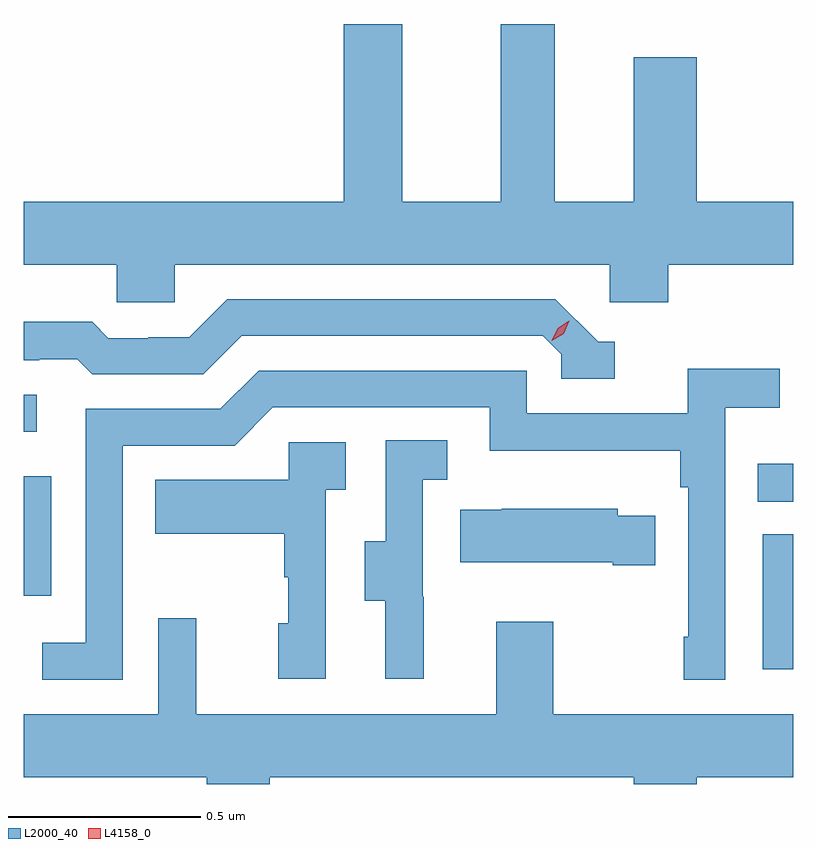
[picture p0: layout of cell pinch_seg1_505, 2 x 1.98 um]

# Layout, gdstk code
import gdstk
lib = gdstk.Library(unit=1e-6, precision=1e-09)
def R(c, l, rs):  # rectangles x0, y0, x1, y1
    for r in rs: c.add(gdstk.rectangle(r[:2], r[2:], *l))
def P(c, l, *ps):  # polygons
    for p in ps: c.add(gdstk.Polygon(p, *l))
L2000_40 = (2000, 40)
L4158_0 = (4158, 0)

pinch_seg1_505 = lib.new_cell('pinch_seg1_505')
R(pinch_seg1_505, L2000_40, [(1124.384,529.368,1124.463,529.719), (1122.463,529.56,1122.534,529.87), (1124.371,529.804,1124.463,529.903), (1122.463,529.986,1122.496,530.082)])
P(pinch_seg1_505, L2000_40, [(1122.855,530.42),(1123.986,530.42),(1123.986,530.322),(1124.138,530.322),(1124.138,530.42),(1124.463,530.42),(1124.463,530.584),(1124.212,530.584),(1124.212,530.959),(1124.048,530.959),(1124.048,530.584),(1123.843,530.584),(1123.843,531.046),(1123.703,531.046),(1123.703,530.584),(1123.447,530.584),(1123.447,531.046),(1123.295,531.046),(1123.295,530.584),(1122.463,530.584),(1122.463,530.42),(1122.705,530.42),(1122.705,530.322),(1122.855,530.322)],
  [(1123.999,530.22),(1123.956,530.22),(1123.845,530.331),(1122.992,530.331),(1122.893,530.232),(1122.786,530.232),(1122.786,530.229),(1122.683,530.229),(1122.641,530.272),(1122.463,530.272),(1122.463,530.172),(1122.503,530.172),(1122.503,530.175),(1122.602,530.175),(1122.641,530.136),(1122.93,530.136),(1123.029,530.235),(1123.812,530.235),(1123.86,530.187),(1123.86,530.124),(1123.999,530.124)],
  [(1122.72,529.95),(1123.011,529.95),(1123.11,530.049),(1123.674,530.049),(1123.674,529.937),(1124.17,529.937),(1124.17,529.841),(1124.19,529.841),(1124.19,529.453),(1124.178,529.453),(1124.178,529.341),(1124.286,529.341),(1124.286,530.048),(1124.428,530.048),(1124.428,530.15),(1124.189,530.15),(1124.189,530.034),(1123.77,530.034),(1123.77,530.145),(1123.073,530.145),(1122.974,530.046),(1122.624,530.046),(1122.624,529.437),(1122.511,529.437),(1122.511,529.341),(1122.72,529.341)],
  [(1123.502,529.557),(1123.5,529.557),(1123.5,529.861),(1123.564,529.861),(1123.564,529.964),(1123.404,529.964),(1123.404,529.701),(1123.349,529.701),(1123.349,529.546),(1123.403,529.546),(1123.403,529.344),(1123.502,529.344)],
  [(1123.248,529.835),(1123.3,529.835),(1123.3,529.959),(1123.152,529.959),(1123.152,529.861),(1122.805,529.861),(1122.805,529.721),(1123.14,529.721),(1123.14,529.607),(1123.15,529.607),(1123.15,529.488),(1123.124,529.488),(1123.124,529.344),(1123.248,529.344)],
  [(1124.105,529.768),(1124.007,529.768),(1124.007,529.786),(1123.705,529.786),(1123.705,529.783),(1123.597,529.783),(1123.597,529.646),(1123.994,529.646),(1123.994,529.639),(1124.105,529.639)],
  [(1123.102,529.088),(1124.048,529.088),(1124.048,529.07),(1124.212,529.07),(1124.212,529.088),(1124.463,529.088),(1124.463,529.252),(1123.839,529.252),(1123.839,529.492),(1123.691,529.492),(1123.691,529.252),(1122.911,529.252),(1122.911,529.501),(1122.813,529.501),(1122.813,529.252),(1122.463,529.252),(1122.463,529.088),(1122.938,529.088),(1122.938,529.07),(1123.102,529.07)])
P(pinch_seg1_505, L4158_0, [(1123.835,530.222),(1123.835,530.222),(1123.851,530.255),(1123.881,530.274),(1123.881,530.274),(1123.881,530.274),(1123.866,530.241),(1123.835,530.222)])

lib.write_gds('pinch_seg1_505.gds')
